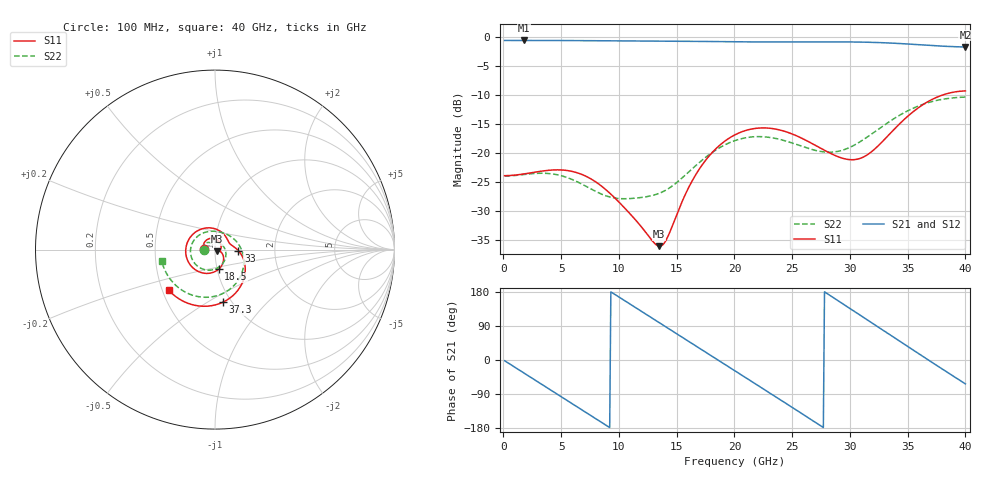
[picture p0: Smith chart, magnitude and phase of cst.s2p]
! X_s8x4_L1L3_bd_d200: L1→L3 back-drilled, drill Ø0.2, L4 plane removed: L3 exits inside the thick L2–L5 pair
! stackup: 8-layer 1.6 mm FR-4 without the L4 plane
! ports: 1, 2
! CST Studio Suite 2025.5 Release from 2025-05-30, time domain (FIT, hexahedral, PBA), 154800 mesh cells, 34 s
! mesh: {'lpw': 20, 'lpb': 20, 'minstep': 0.0, 'ratio': 20}; ports: port 1 (face); port 2 (face)
! interpolated from CST's 1001 samples to the case grid
# Hz S RI R 50
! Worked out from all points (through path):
!   400 points, 100 MHz to 40 GHz, reference 50 ohm
!   highest |S21| = -0.57 dB at 1.8 GHz (marker M1); lowest = -1.7 dB at 40 GHz (marker M2)
!   group delay of S21, straight-line fit = 54.3 ps
!   lowest |S11| = -36.1 dB at 13.5 GHz (marker M3), VSWR 1.03, Z = 51.3 - j0.933 ohm
!   |S11| at or under -10 dB: start of sweep to 38.02 GHz
!   |S22| runs from -27.9 to -10.4 dB; largest |S21 - S12| = 0.0041
!   S11 on the Smith chart (normalised r, x): 100 MHz: 0.88, +0.00; 18.5 GHz: 1.02, -0.22; 33 GHz: 1.30, -0.02; 37.3 GHz: 0.92, -0.59; 40 GHz: 0.54, -0.28
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1e8  -0.0635 0.00058  0.9358 -0.0316  0.9363 -0.0317  -0.063 0.000394
1.8e9  -0.0647 0.012  0.7684 -0.5351  0.7683 -0.5356  -0.0645 0.00877
4.3e9  -0.0581 0.0412  0.1089 -0.9294  0.1087 -0.929  -0.0587 0.0295
6.8e9  -0.015 0.0633  -0.6219 -0.6958  -0.6215 -0.696  -0.0358 0.04
8.4e9  0.0199 0.0485  -0.8892 -0.2757  -0.8894 -0.2761  -0.0239 0.0374
9.9e9  0.0342 0.0176  -0.9094 0.19  -0.9099 0.1902  -0.0168 0.0367
1.34e10  0.0125 -0.00951  -0.1666 0.9108  -0.1662 0.9104  0.0274 0.0349
1.35e10  0.0127 -0.0091  -0.1356 0.9158  -0.1352 0.9154  0.0294 0.0338
1.57e10  0.0382 -0.0191  0.5205 0.7614  0.5198 0.7613  0.0608 -0.0191
1.85e10  0.0199 -0.1093  0.9149 0.0201  0.9155 0.0205  0.0039 -0.1075
2.01e10  -0.0579 -0.132  0.7914 -0.452  0.7919 -0.4527  -0.0684 -0.1085
2.18e10  -0.1417 -0.0799  0.4177 -0.8078  0.4169 -0.8082  -0.1266 -0.055
2.34e10  -0.1607 0.017  -0.0594 -0.9074  -0.0598 -0.9065  -0.1332 0.0177
2.5e10  -0.1072 0.0986  -0.5221 -0.7458  -0.5211 -0.7454  -0.0963 0.0745
2.67e10  -0.0159 0.1198  -0.8475 -0.3353  -0.8472 -0.3365  -0.0376 0.1003
2.94e10  0.0681 0.0583  -0.7722 0.4824  -0.7732 0.4836  0.0581 0.0884
3.13e10  0.0897 0.0266  -0.3084 0.8508  -0.3068 0.8516  0.1284 0.034
3.3e10  0.1307 -0.0067  0.2211 0.8663  0.2217 0.8644  0.1609 -0.0676
3.34e10  0.1425 -0.0217  0.339 0.8235  0.3388 0.8214  0.1584 -0.097
3.54e10  0.1633 -0.1528  0.7695 0.401  0.7673 0.4022  0.0667 -0.2318
3.73e10  0.0462 -0.2921  0.8306 -0.1473  0.8329 -0.1451  -0.1095 -0.2586
4e10  -0.258 -0.226  0.3723 -0.733  0.3709 -0.7369  -0.2972 -0.0623
